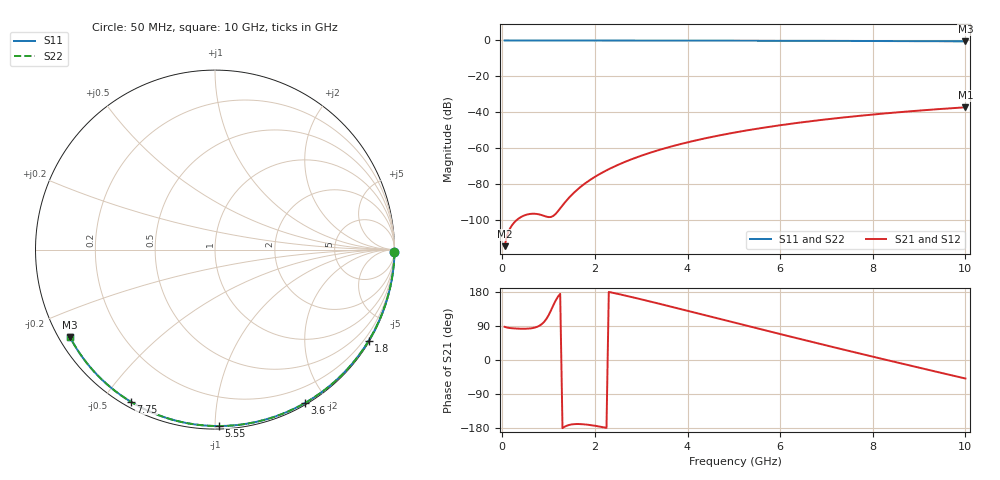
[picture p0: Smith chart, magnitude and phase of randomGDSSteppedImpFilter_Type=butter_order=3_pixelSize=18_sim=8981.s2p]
! freq	dB(S11)	phase(S11)	dB(S12)	phase(S12)
!  dB(S21)	phase(S21)	dB(S22)	phase(S22)
!S-par simulation data
#  GHz  S  DB  R 50
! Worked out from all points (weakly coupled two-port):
!   200 points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, 50 MHz to 10 GHz, reference 50 ohm
!   highest |S21| = -37.20 dB at 10 GHz (marker M1); lowest = -114.5 dB at 50 MHz (marker M2)
!   lowest |S11| = -0.5 dB at 10 GHz (marker M3), VSWR 34.57, Z = 1.56 - j14 ohm
!   |S11| at or under -10 dB: nowhere
!   |S22| runs from -0.5 to 0.0 dB; largest |S21 - S12| = 0
!   S11 on the Smith chart (normalised r, x): 50 MHz: open; 1.8 GHz: 0.03, -3.66; 3.6 GHz: 0.02, -1.75; 5.55 GHz: 0.02, -1.02; 7.75 GHz: 0.02, -0.59; 10 GHz: 0.03, -0.28
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0.05  -0.00 -0.9  -114.50 87.5  -114.50 87.5  -0.00 -0.9
0.45  -0.01 -7.8  -97.67 82.4  -97.67 82.4  -0.01 -7.8
0.9  -0.02 -15.5  -97.62 100.2  -97.62 100.2  -0.02 -15.5
1.3  -0.03 -22.2  -91.81 -179.8  -91.81 -179.8  -0.03 -22.2
1.75  -0.04 -29.8  -80.30 -169.6  -80.30 -169.6  -0.04 -29.8
1.8  -0.04 -30.6  -79.33 -170.2  -79.33 -170.2  -0.04 -30.6
1.95  -0.04 -33.1  -76.71 -172.6  -76.71 -172.6  -0.04 -33.1
2.1  -0.05 -35.6  -74.39 -175.6  -74.39 -175.6  -0.05 -35.6
2.3  -0.05 -38.8  -71.65 179.6  -71.65 179.6  -0.05 -38.8
2.5  -0.05 -42.1  -69.22 174.4  -69.22 174.4  -0.05 -42.1
2.9  -0.06 -48.6  -65.08 163.1  -65.08 163.1  -0.06 -48.6
3.4  -0.08 -56.5  -60.84 148.2  -60.84 148.2  -0.08 -56.5
3.6  -0.08 -59.6  -59.36 142.1  -59.36 142.1  -0.08 -59.6
4.3  -0.10 -70.4  -54.92 120.6  -54.92 120.6  -0.10 -70.4
5.05  -0.13 -81.5  -51.09 97.5  -51.09 97.5  -0.13 -81.5
5.55  -0.15 -88.8  -48.93 82.2  -48.93 82.2  -0.15 -88.8
6.1  -0.17 -96.5  -46.83 65.4  -46.83 65.4  -0.17 -96.5
6.7  -0.20 -104.9  -44.82 47.3  -44.82 47.3  -0.20 -104.9
7.75  -0.28 -119.1  -41.85 16.1  -41.85 16.1  -0.28 -119.1
8.35  -0.33 -127.0  -40.41 -1.4  -40.41 -1.4  -0.33 -127.0
9.2  -0.41 -138.2  -38.63 -26.0  -38.63 -26.0  -0.41 -138.2
10  -0.50 -148.8  -37.20 -48.8  -37.20 -48.8  -0.50 -148.8
